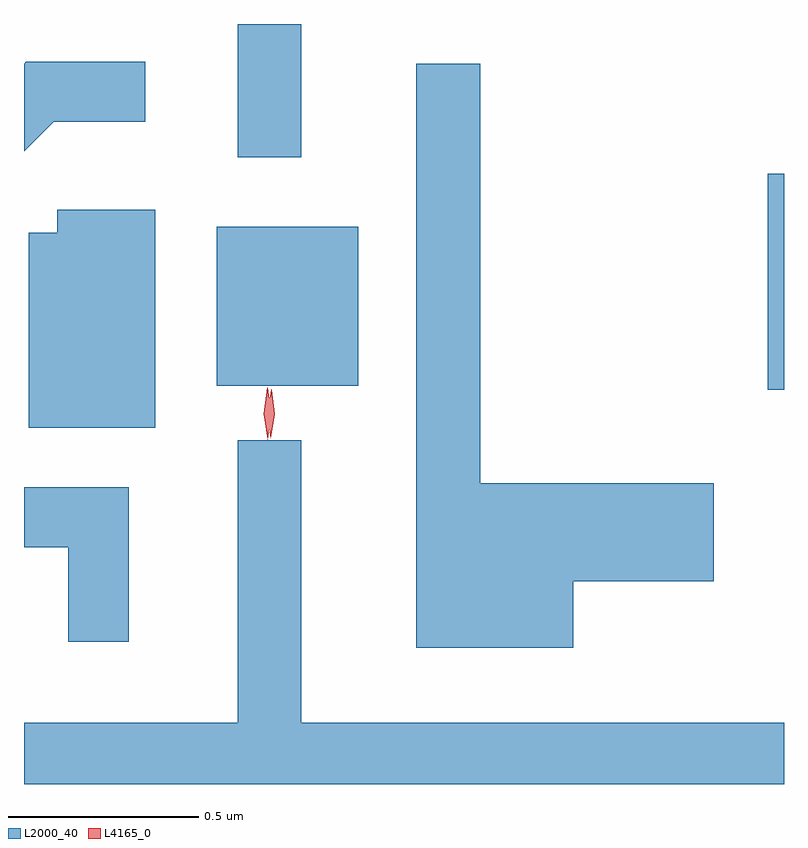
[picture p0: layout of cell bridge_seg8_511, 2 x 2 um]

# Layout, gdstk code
import gdstk
lib = gdstk.Library(unit=1e-6, precision=1e-09)
def R(c, l, rs):  # rectangles x0, y0, x1, y1
    for r in rs: c.add(gdstk.rectangle(r[:2], r[2:], *l))
def P(c, l, *ps):  # polygons
    for p in ps: c.add(gdstk.Polygon(p, *l))
L2000_40 = (2000, 40)
L4165_0 = (4165, 0)

bridge_seg8_511 = lib.new_cell('bridge_seg8_511')
R(bridge_seg8_511, L2000_40, [(333.296,1910.821,333.339,1911.389), (331.846,1910.831,332.219,1911.249), (331.901,1911.433,332.069,1911.783)])
P(bridge_seg8_511, L2000_40, [(331.417,1911.526),(331.658,1911.526),(331.658,1911.684),(331.344,1911.684),(331.339,1911.679),(331.339,1911.448)],
  [(332.784,1910.316),(333.154,1910.316),(333.154,1910.574),(332.539,1910.574),(332.539,1911.678),(332.371,1911.678),(332.371,1910.141),(332.784,1910.141)],
  [(331.684,1911.294),(331.426,1911.294),(331.426,1911.234),(331.351,1911.234),(331.351,1910.721),(331.684,1910.721)],
  [(333.339,1909.944),(332.069,1909.944),(332.069,1910.688),(331.901,1910.688),(331.901,1909.944),(331.339,1909.944),(331.339,1909.783),(333.339,1909.783)],
  [(331.614,1910.564),(331.339,1910.564),(331.339,1910.406),(331.456,1910.406),(331.456,1910.158),(331.614,1910.158)])
P(bridge_seg8_511, L4165_0, [(331.98,1910.689),(331.98,1910.69),(331.97,1910.758),(331.979,1910.826),(331.98,1910.826),(331.98,1910.826),(331.99,1910.758),(331.981,1910.69)],
  [(331.988,1910.693),(331.988,1910.693),(331.979,1910.757),(331.99,1910.821),(331.99,1910.822),(331.991,1910.821),(331.999,1910.757),(331.988,1910.693)])

lib.write_gds('bridge_seg8_511.gds')
